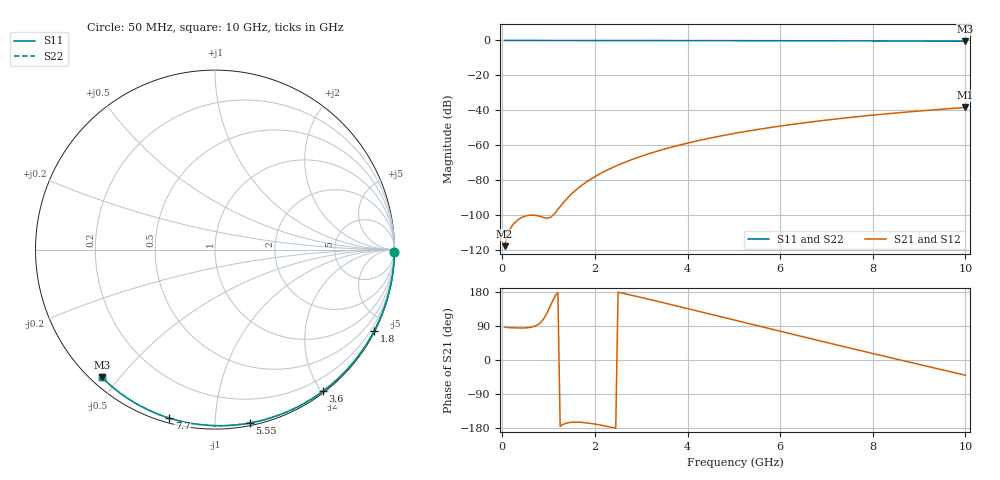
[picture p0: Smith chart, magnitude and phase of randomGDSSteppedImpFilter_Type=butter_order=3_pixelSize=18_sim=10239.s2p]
! freq	dB(S11)	phase(S11)	dB(S12)	phase(S12)
!  dB(S21)	phase(S21)	dB(S22)	phase(S22)
!S-par simulation data
#  GHz  S  DB  R 50
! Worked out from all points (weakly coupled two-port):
!   200 points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, 50 MHz to 10 GHz, reference 50 ohm
!   highest |S21| = -38.42 dB at 10 GHz (marker M1); lowest = -117.9 dB at 50 MHz (marker M2)
!   lowest |S11| = -0.4 dB at 10 GHz (marker M3), VSWR 39.05, Z = 1.54 - j22.5 ohm
!   |S11| at or under -10 dB: nowhere
!   |S22| runs from -0.4 to 0.0 dB; largest |S21 - S12| = 0
!   S11 on the Smith chart (normalised r, x): 50 MHz: open; 1.8 GHz: 0.04, -4.17; 3.6 GHz: 0.02, -2.02; 5.55 GHz: 0.02, -1.22; 7.7 GHz: 0.02, -0.77; 10 GHz: 0.03, -0.45
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0.05  -0.00 -0.8  -117.88 86.8  -117.88 86.8  -0.00 -0.8
0.9  -0.02 -13.6  -101.54 110.2  -101.54 110.2  -0.02 -13.6
1.75  -0.03 -26.2  -82.35 -165.0  -82.35 -165.0  -0.03 -26.2
1.8  -0.03 -27.0  -81.40 -165.7  -81.40 -165.7  -0.03 -27.0
1.85  -0.04 -27.7  -80.51 -166.4  -80.51 -166.4  -0.04 -27.7
1.9  -0.04 -28.4  -79.65 -167.3  -79.65 -167.3  -0.04 -28.4
2.05  -0.04 -30.6  -77.27 -170.2  -77.27 -170.2  -0.04 -30.6
2.25  -0.04 -33.5  -74.46 -174.8  -74.46 -174.8  -0.04 -33.5
2.45  -0.05 -36.4  -71.98 -179.8  -71.98 -179.8  -0.05 -36.4
2.65  -0.05 -39.3  -69.76 174.8  -69.76 174.8  -0.05 -39.3
3  -0.06 -44.3  -66.35 165.0  -66.35 165.0  -0.06 -44.3
3.4  -0.07 -49.9  -63.01 153.4  -63.01 153.4  -0.07 -49.9
3.6  -0.07 -52.7  -61.52 147.6  -61.52 147.6  -0.07 -52.7
4.3  -0.09 -62.3  -57.01 126.7  -57.01 126.7  -0.09 -62.3
5.05  -0.11 -72.3  -53.08 104.2  -53.08 104.2  -0.11 -72.3
5.55  -0.13 -78.7  -50.85 89.3  -50.85 89.3  -0.13 -78.7
6.1  -0.15 -85.7  -48.68 72.9  -48.68 72.9  -0.15 -85.7
6.7  -0.18 -93.1  -46.58 55.1  -46.58 55.1  -0.18 -93.1
7.7  -0.24 -105.2  -43.59 25.8  -43.59 25.8  -0.24 -105.1
8.35  -0.29 -112.8  -41.92 7.0  -41.92 7.0  -0.29 -112.8
9.15  -0.36 -121.9  -40.10 -15.9  -40.10 -15.9  -0.36 -121.9
10  -0.44 -131.6  -38.42 -40.2  -38.42 -40.2  -0.44 -131.6
